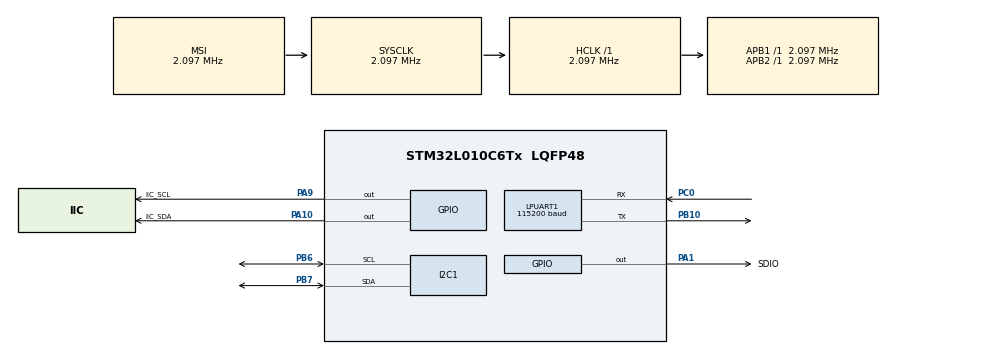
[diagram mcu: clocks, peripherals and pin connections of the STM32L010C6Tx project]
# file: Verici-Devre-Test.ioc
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LPUART1.BaudRate=115200
LPUART1.WordLength=UART_WORDLENGTH_8B
Mcu.Family=STM32L0
Mcu.Name=STM32L010C6Tx
Mcu.Package=LQFP48
PA1.GPIO_Label=SDIO
PA1.Signal=GPIO_Output
PA10.GPIO_Label=IIC_SDA
PA10.Signal=GPIO_Output
PA13.Mode=Serial_Wire
PA13.Signal=SYS_SWDIO
PA14.Mode=Serial_Wire
PA14.Signal=SYS_SWCLK
PA9.GPIO_Label=IIC_SCL
PA9.Signal=GPIO_Output
PB10.Mode=Asynchronous
PB10.Signal=LPUART1_TX
PB6.Mode=I2C
PB6.Signal=I2C1_SCL
PB7.Mode=I2C
PB7.Signal=I2C1_SDA
PC0.Mode=Asynchronous
PC0.Signal=LPUART1_RX
PH0-OSC_IN.Mode=HSE-External-Oscillator
PH0-OSC_IN.Signal=RCC_OSC_IN
PH1-OSC_OUT.Mode=HSE-External-Oscillator
PH1-OSC_OUT.Signal=RCC_OSC_OUT
ProjectManager.HeapSize=0x200
ProjectManager.StackSize=0x400
ProjectManager.TargetToolchain=STM32CubeIDE
RCC.AHBFreq_Value=2097000
RCC.APB1Freq_Value=2097000
RCC.APB1TimFreq_Value=2097000
RCC.APB2Freq_Value=2097000
RCC.APB2TimFreq_Value=2097000
RCC.HSE_VALUE=25000000
RCC.HSI16_VALUE=16000000
RCC.HSI_VALUE=16000000
RCC.LSE_VALUE=32768
RCC.MSI_VALUE=2097000
RCC.SYSCLKFreq_VALUE=2097000
RCC.VCOOutputFreq_Value=48000000
board=custom

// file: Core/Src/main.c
/* USER CODE BEGIN Header */
/**
  ******************************************************************************
  * @file           : main.c
  * @brief          : Main program body
  ******************************************************************************
  * @attention
  *
  * <h2><center>&copy; Copyright (c) 2021 STMicroelectronics.
  * All rights reserved.</center></h2>
  *
  * This software component is licensed by ST under BSD 3-Clause license,
  * the "License"; You may not use this file except in compliance with the
  * License. You may obtain a copy of the License at:
  *                        opensource.org/licenses/BSD-3-Clause
  *
  ******************************************************************************
  */
/* USER CODE END Header */
#include "main.h"

/* USER CODE BEGIN Includes */
//#include "myiic.h" SHT30 DENEME1
//#include "SHT30.h" SHT30 DENEME1
#include <string.h>
#include <stdio.h>
#include "sht3x.h"
/* USER CODE END Includes */

I2C_HandleTypeDef hi2c1;

UART_HandleTypeDef hlpuart1;

void SystemClock_Config(void);
static void MX_GPIO_Init(void);
static void MX_LPUART1_UART_Init(void);
static void MX_I2C1_Init(void);

int main(void)
{

  /* MCU Configuration--------------------------------------------------------*/

  /* Reset of all peripherals, Initializes the Flash interface and the Systick. */
  HAL_Init();

  /* Configure the system clock */
  SystemClock_Config();

  /* Initialize all configured peripherals */
  MX_GPIO_Init();
  MX_LPUART1_UART_Init();
  MX_I2C1_Init();
  /* USER CODE BEGIN 2 */
  typedef unsigned char u8;
   typedef unsigned int u16;
   typedef unsigned long u32;
   #define true 1
   #define false 0
  void InputSDIO()
  {

  	GPIO_InitTypeDef GPIO_InitStruct = {0};

  	  /* GPIO Ports Clock Enable */
  	  __HAL_RCC_GPIOH_CLK_ENABLE();
  	  __HAL_RCC_GPIOA_CLK_ENABLE();

  	  /*Configure GPIO pin : GPO3_Pin */
  	  GPIO_InitStruct.Pin = SDIO_Pin;
  	  GPIO_InitStruct.Mode = GPIO_MODE_INPUT;
  	  GPIO_InitStruct.Pull = GPIO_NOPULL;
  	  HAL_GPIO_Init(SDIO_GPIO_Port, &GPIO_InitStruct);
  }
  void OutputSDIO(){
  	 GPIO_InitTypeDef GPIO_InitStruct = {0};

  	  /* GPIO Ports Clock Enable */
  	  __HAL_RCC_GPIOH_CLK_ENABLE();
  	  __HAL_RCC_GPIOA_CLK_ENABLE();

  	  /*Configure GPIO pin Output Level */
  	  HAL_GPIO_WritePin(SDIO_GPIO_Port, SDIO_Pin, GPIO_PIN_RESET);

  	  /*Configure GPIO pins : CSB_Pin FCSB_Pin SCLK_Pin SDIO_Pin */
  	  GPIO_InitStruct.Pin = SDIO_Pin;
  	  GPIO_InitStruct.Mode = GPIO_MODE_OUTPUT_PP;
  	  GPIO_InitStruct.Pull = GPIO_NOPULL;
  	  GPIO_InitStruct.Speed = GPIO_SPEED_FREQ_LOW;
  	  HAL_GPIO_Init(GPIOA, &GPIO_InitStruct);

  }
  void _delay_us(void){
  	// for (int i = 0; i <= 1; i++){
  	//HAL_UART_Transmit( &hlpuart1, (uint8_t *)"geliyor\r\n",9, 100);
  	//int i=i;
   	// HAL_UART_Transmit( &hlpuart1, (uint8_t *)"giriyor\r\n",9, 100);

  	//
  	  	//  }
  	 //HAL_Delay(1);
  }

#define	SetSDIO()	(HAL_GPIO_WritePin(SDIO_GPIO_Port, SDIO_Pin, 1))
#define	ClrSDIO()	(HAL_GPIO_WritePin(SDIO_GPIO_Port, SDIO_Pin, 0))

#define	SDIO_H()	(HAL_GPIO_ReadPin(SDIO_GPIO_Port, SDIO_Pin) == 1)
#define	SDIO_L()	(HAL_GPIO_ReadPin(SDIO_GPIO_Port, SDIO_Pin) == 0)

   /* SHT30 DENEME1
    * int t[20];
    * u16 h[20];
    * SHT30_Init();
    */

  sensirion_i2c_init();

  while (sht3x_probe(SHT3X_I2C_ADDR_DFLT) != STATUS_OK) {
          printf("SHT sensor probing failed\n");
      }
      printf("SHT sensor probing successful\n");
  /* USER CODE END 2 */

  /* Infinite loop */
  while (1)
  {

    /* USER CODE BEGIN 3 */

		// HAL_UART_Transmit( &hlpuart1, (uint8_t *)"geliyor\r\n",9, 100);
		 /* HAL_Delay(1000);
         RF SDA SCL TEST KISMI
		 OutputSDIO();
		 HAL_UART_Transmit( &hlpuart1, (uint8_t *)"output oldu\r\n",13, 100);

		 SetSDIO();
		 //HAL_GPIO_WritePin(SDIO_GPIO_Port, SDIO_Pin, 1);
		 HAL_UART_Transmit( &hlpuart1, (uint8_t *)"yandi\r\n",7, 100);
		 HAL_Delay(5000);

		 ClrSDIO();
		 //HAL_GPIO_WritePin(SDIO_GPIO_Port, SDIO_Pin, 0);
		 HAL_UART_Transmit( &hlpuart1, (uint8_t *)"sondu\r\n",9, 100);
		 HAL_Delay(5000);

		 InputSDIO();
		 HAL_UART_Transmit( &hlpuart1, (uint8_t *)"Input oldu\r\n",12, 100);

		 HAL_Delay(15000);
		 if(SDIO_H()){
			 HAL_UART_Transmit( &hlpuart1, (uint8_t *)"1 geliyor\r\n",11, 100);

		 }else if(SDIO_L()){
			 HAL_UART_Transmit( &hlpuart1, (uint8_t *)"0 geliyor\r\n",11, 100);

		  		}
		 HAL_Delay(5000);*/

		 /*SHT30 DENEME1
		  * SHT30_Read_Humiture(t,h);
		 char buffer[100];
		 int a=20;
		 t[0]=t[0]/10.0;
		 sprintf(buffer, "%d", t[0]/10);
		 HAL_UART_Transmit(&hlpuart1, "t: ", 3, 1000);
		 HAL_UART_Transmit(&hlpuart1, (uint8_t *)buffer, strlen(buffer), 1000);
		 HAL_UART_Transmit( &hlpuart1, (uint8_t *)"\r\n",2, 100);

		 sprintf(buffer, "%d", h[0]/10);
		 HAL_UART_Transmit(&hlpuart1, "h: ", 3, 1000);
		 HAL_UART_Transmit(&hlpuart1, (uint8_t *)buffer, strlen(buffer), 1000);
		 HAL_UART_Transmit( &hlpuart1, (uint8_t *)"\r\n",2, 100);
		 HAL_Delay(1000);*/
	  char buffer[100];
		 int32_t temperature, humidity;
		        /* Measure temperature and relative humidity and store into variables
		         * temperature, humidity (each output multiplied by 1000).
		         */
		        int8_t ret = sht3x_measure_blocking_read(SHT3X_I2C_ADDR_DFLT,&temperature, &humidity);
		        if (ret == STATUS_OK) {
		        	 HAL_UART_Transmit( &hlpuart1, (uint8_t *)"geliyor\r\n",9, 100);
		        	 sprintf(buffer, "%d", temperature/ 1000);
		        	 		 HAL_UART_Transmit(&hlpuart1, "t: ", 3, 1000);
		        	 		 HAL_UART_Transmit(&hlpuart1, (uint8_t *)buffer, strlen(buffer), 1000);
		        	 		 HAL_UART_Transmit( &hlpuart1, (uint8_t *)"\r\n",2, 100);

		        	 //  printf("measured temperature: %0.2f degreeCelsius","measured humidity: %0.2f percentRH\n",temperature / 1000.0f, humidity / 1000.0f);
		        } else {
		            printf("error reading measurement\n");
		        }

		        sensirion_sleep_usec(1000000);

  }
  /* USER CODE END 3 */
}

void SystemClock_Config(void)
{
  RCC_OscInitTypeDef RCC_OscInitStruct = {0};
  RCC_ClkInitTypeDef RCC_ClkInitStruct = {0};
  RCC_PeriphCLKInitTypeDef PeriphClkInit = {0};

  /** Configure the main internal regulator output voltage
  */
  __HAL_PWR_VOLTAGESCALING_CONFIG(PWR_REGULATOR_VOLTAGE_SCALE1);
  /** Initializes the RCC Oscillators according to the specified parameters
  * in the RCC_OscInitTypeDef structure.
  */
  RCC_OscInitStruct.OscillatorType = RCC_OSCILLATORTYPE_MSI;
  RCC_OscInitStruct.MSIState = RCC_MSI_ON;
  RCC_OscInitStruct.MSICalibrationValue = 0;
  RCC_OscInitStruct.MSIClockRange = RCC_MSIRANGE_5;
  RCC_OscInitStruct.PLL.PLLState = RCC_PLL_NONE;
  if (HAL_RCC_OscConfig(&RCC_OscInitStruct) != HAL_OK)
  {
    Error_Handler();
  }
  /** Initializes the CPU, AHB and APB buses clocks
  */
  RCC_ClkInitStruct.ClockType = RCC_CLOCKTYPE_HCLK|RCC_CLOCKTYPE_SYSCLK
                              |RCC_CLOCKTYPE_PCLK1|RCC_CLOCKTYPE_PCLK2;
  RCC_ClkInitStruct.SYSCLKSource = RCC_SYSCLKSOURCE_MSI;
  RCC_ClkInitStruct.AHBCLKDivider = RCC_SYSCLK_DIV1;
  RCC_ClkInitStruct.APB1CLKDivider = RCC_HCLK_DIV1;
  RCC_ClkInitStruct.APB2CLKDivider = RCC_HCLK_DIV1;

  if (HAL_RCC_ClockConfig(&RCC_ClkInitStruct, FLASH_LATENCY_0) != HAL_OK)
  {
    Error_Handler();
  }
  PeriphClkInit.PeriphClockSelection = RCC_PERIPHCLK_LPUART1|RCC_PERIPHCLK_I2C1;
  PeriphClkInit.Lpuart1ClockSelection = RCC_LPUART1CLKSOURCE_PCLK1;
  PeriphClkInit.I2c1ClockSelection = RCC_I2C1CLKSOURCE_PCLK1;
  if (HAL_RCCEx_PeriphCLKConfig(&PeriphClkInit) != HAL_OK)
  {
    Error_Handler();
  }
}

static void MX_I2C1_Init(void)
{

  hi2c1.Instance = I2C1;
  hi2c1.Init.Timing = 0x00000708;
  hi2c1.Init.OwnAddress1 = 0;
  hi2c1.Init.AddressingMode = I2C_ADDRESSINGMODE_7BIT;
  hi2c1.Init.DualAddressMode = I2C_DUALADDRESS_DISABLE;
  hi2c1.Init.OwnAddress2 = 0;
  hi2c1.Init.OwnAddress2Masks = I2C_OA2_NOMASK;
  hi2c1.Init.GeneralCallMode = I2C_GENERALCALL_DISABLE;
  hi2c1.Init.NoStretchMode = I2C_NOSTRETCH_DISABLE;
  if (HAL_I2C_Init(&hi2c1) != HAL_OK)
  {
    Error_Handler();
  }
  /** Configure Analogue filter
  */
  if (HAL_I2CEx_ConfigAnalogFilter(&hi2c1, I2C_ANALOGFILTER_ENABLE) != HAL_OK)
  {
    Error_Handler();
  }
  /** Configure Digital filter
  */
  if (HAL_I2CEx_ConfigDigitalFilter(&hi2c1, 0) != HAL_OK)
  {
    Error_Handler();
  }

}

static void MX_LPUART1_UART_Init(void)
{

  hlpuart1.Instance = LPUART1;
  hlpuart1.Init.BaudRate = 115200;
  hlpuart1.Init.WordLength = UART_WORDLENGTH_8B;
  hlpuart1.Init.StopBits = UART_STOPBITS_1;
  hlpuart1.Init.Parity = UART_PARITY_NONE;
  hlpuart1.Init.Mode = UART_MODE_TX_RX;
  hlpuart1.Init.HwFlowCtl = UART_HWCONTROL_NONE;
  hlpuart1.Init.OneBitSampling = UART_ONE_BIT_SAMPLE_DISABLE;
  hlpuart1.AdvancedInit.AdvFeatureInit = UART_ADVFEATURE_NO_INIT;
  if (HAL_UART_Init(&hlpuart1) != HAL_OK)
  {
    Error_Handler();
  }

}

static void MX_GPIO_Init(void)
{
  GPIO_InitTypeDef GPIO_InitStruct = {0};

  /* GPIO Ports Clock Enable */
  __HAL_RCC_GPIOC_CLK_ENABLE();
  __HAL_RCC_GPIOH_CLK_ENABLE();
  __HAL_RCC_GPIOA_CLK_ENABLE();
  __HAL_RCC_GPIOB_CLK_ENABLE();

  /*Configure GPIO pin Output Level */
  HAL_GPIO_WritePin(GPIOA, SDIO_Pin|IIC_SCL_Pin|IIC_SDA_Pin, GPIO_PIN_RESET);

  /*Configure GPIO pins : SDIO_Pin IIC_SCL_Pin IIC_SDA_Pin */
  GPIO_InitStruct.Pin = SDIO_Pin|IIC_SCL_Pin|IIC_SDA_Pin;
  GPIO_InitStruct.Mode = GPIO_MODE_OUTPUT_PP;
  GPIO_InitStruct.Pull = GPIO_NOPULL;
  GPIO_InitStruct.Speed = GPIO_SPEED_FREQ_LOW;
  HAL_GPIO_Init(GPIOA, &GPIO_InitStruct);

}

void Error_Handler(void)
{
  __disable_irq();
  while (1)
  {
  }
}

/************************ (C) COPYRIGHT STMicroelectronics *****END OF FILE****/
